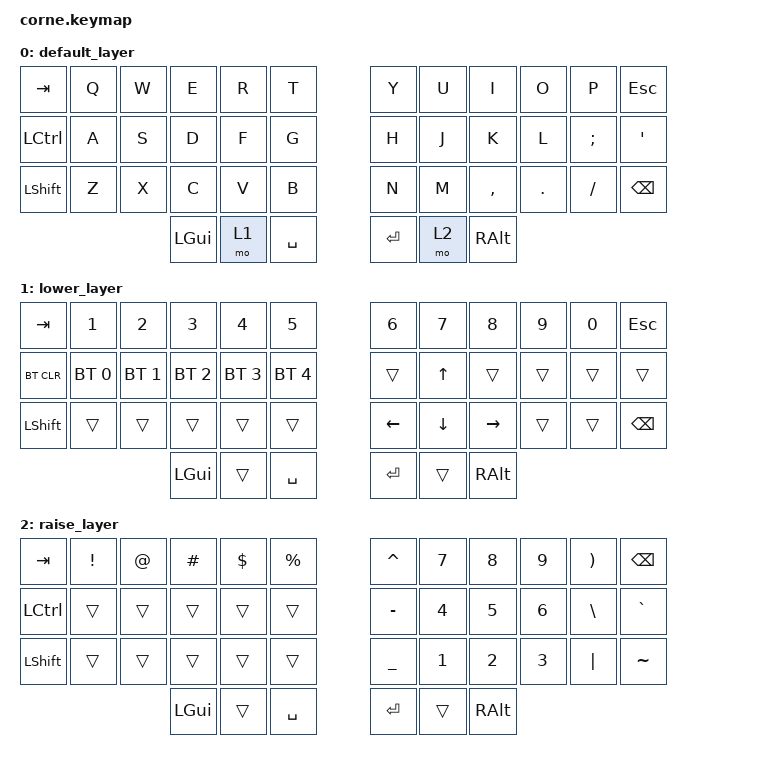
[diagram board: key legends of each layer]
/*
 * Copyright (c) 2020 The ZMK Contributors
 *
 * SPDX-License-Identifier: MIT
 */

#include <behaviors.dtsi>
#include <dt-bindings/zmk/keys.h>
#include <dt-bindings/zmk/bt.h>

/ {
        keymap {
                compatible = "zmk,keymap";

                default_layer {
                        // -----------------------------------------------------------------------------------------
                        // |  TAB |  Q  |  W  |  E  |  R  |  T  |   |  Y  |  U   |  I  |  O  |  P  | ESC |
                        // | CTRL |  A  |  S  |  D  |  F  |  G  |   |  H  |  J   |  K  |  L  |  ;  |  '   |
                        // | SHFT |  Z  |  X  |  C  |  V  |  B  |   |  N  |  M   |  ,  |  .  |  /  | BSPC  |
                        //                    | GUI | LWR | SPC |   | ENT | RSE  | ALT |
                        bindings = <
                        &kp TAB   &kp Q &kp W &kp E &kp R &kp T   &kp Y &kp U  &kp I     &kp O   &kp P    &kp ESC
                        &kp LCTRL &kp A &kp S &kp D &kp F &kp G   &kp H &kp J  &kp K     &kp L   &kp SEMI &kp SQT
                        &kp LSHFT &kp Z &kp X &kp C &kp V &kp B   &kp N &kp M  &kp COMMA &kp DOT &kp FSLH &kp BSPC
                                        &kp LGUI &mo 1 &kp SPACE   &kp RET &mo 2 &kp RALT
                        >;
                };

                lower_layer {
                        // -----------------------------------------------------------------------------------------
                        // |  TAB |  1  |  2  |  3  |  4  |  5  |   |  6  |  7  |  8  |  9  |  0  | ESC |
                        // | BTCLR| BT1 | BT2 | BT3 | BT4 | BT5 |   |     | UP  |     |     |     |      |
                        // | SHFT |     |     |     |     |     |   | LFT | DWN | RGT |     |     |  BSPC   |
                        //                    | GUI |     | SPC |   | ENT |     | ALT |
                        bindings = <
                        &kp TAB    &kp N1       &kp N2       &kp N3       &kp N4       &kp N5         &kp N6   &kp N7   &kp N8 &kp N9    &kp N0 &kp ESC
                        &bt BT_CLR &bt BT_SEL 0 &bt BT_SEL 1 &bt BT_SEL 2 &bt BT_SEL 3 &bt BT_SEL 4   &trans &kp UP &trans &trans &trans &trans
                        &kp LSHFT  &trans       &trans       &trans       &trans       &trans         &kp LEFT   &kp DOWN   &kp RIGHT &trans    &trans &kp BSPC
                                                        &kp LGUI     &trans       &kp SPACE      &kp RET  &trans   &kp RALT
                        >;
                };


                raise_layer {
                        // -----------------------------------------------------------------------------------------
                        // |  TAB |  !  |  @  |  #  |  $  |  %  |   |  ^  |  7  |  8  |  9  |  )  | BSPC |
                        // | CTRL |     |     |     |     |     |   |  -  |  4  |  5  |  6  |  \  |  `   |
                        // | SHFT |     |     |     |     |     |   |  _  |  1  |  2  |  3  | "|" |  ~   |
                        //                    | GUI |     | SPC |   | ENT |     | ALT |
                        bindings = <
                        &kp  TAB  &kp EXCL &kp AT &kp HASH &kp DLLR &kp PRCNT   &kp CARET &kp N7  &kp N8  &kp N9 &kp RPAR &kp BSPC
                        &kp LCTRL &trans   &trans &trans   &trans   &trans      &kp MINUS &kp N4  &kp N5  &kp N6 &kp BSLH &kp GRAVE
                        &kp LSHFT &trans   &trans &trans   &trans   &trans      &kp UNDER &kp N1  &kp N2  &kp N3 &kp PIPE &kp TILDE
                                                &kp LGUI &trans   &kp SPACE   &kp RET   &trans    &kp RALT
                        >;
                };
        };
};
//
                // OLD raise_layer {
                        // -----------------------------------------------------------------------------------------
                        // |  TAB |  !  |  @  |  #  |  $  |  %  |   |  ^  |  &  |  *  |  (  |  )  | BSPC |
                        // | CTRL |     |     |     |     |     |   |  -  |  =  |  [  |  ]  |  \  |  `   |
                        // | SHFT |     |     |     |     |     |   |  _  |  +  |  {  |  }  | "|" |  ~   |
                        //                    | GUI |     | SPC |   | ENT |     | ALT |
                //                                bindings = <
                //        &kp  TAB  &kp EXCL &kp AT &kp HASH &kp DLLR &kp PRCNT   &kp CARET &kp AMPS  &kp ASTRK &kp LPAR &kp RPAR &kp BSPC
                //        &kp LCTRL &trans   &trans &trans   &trans   &trans      &kp MINUS &kp EQUAL &kp LBKT  &kp RBKT &kp BSLH &kp GRAVE
                //        &kp LSHFT &trans   &trans &trans   &trans   &trans      &kp UNDER &kp PLUS  &kp LBRC  &kp RBRC &kp PIPE &kp TILDE
                //                                &kp LGUI &trans   &kp SPACE   &kp RET   &trans    &kp RALT
                //                                >;
                //                        };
